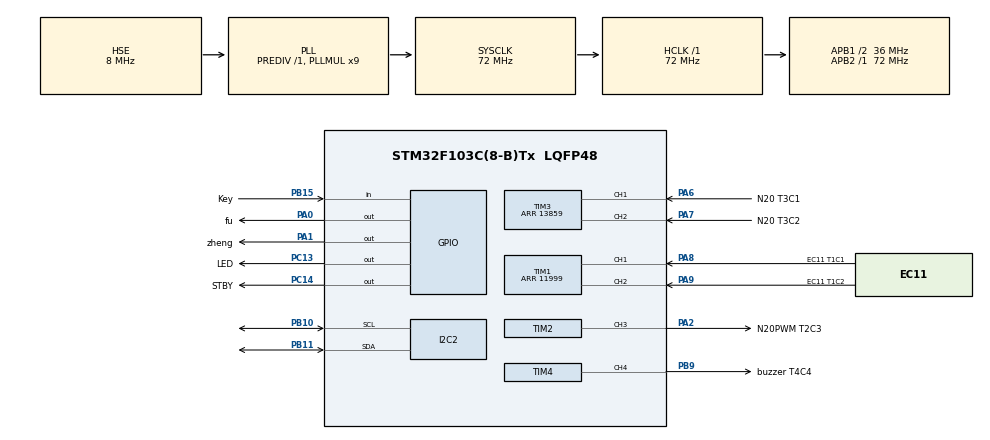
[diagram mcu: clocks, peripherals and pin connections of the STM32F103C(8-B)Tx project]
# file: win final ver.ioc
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Mcu.Family=STM32F1
Mcu.Name=STM32F103C(8-B)Tx
Mcu.Package=LQFP48
NVIC.PriorityGroup=NVIC_PRIORITYGROUP_4
PA0-WKUP.GPIO_Label=fu
PA0-WKUP.PinState=GPIO_PIN_RESET
PA0-WKUP.Signal=GPIO_Output
PA1.GPIO_Label=zheng
PA1.PinState=GPIO_PIN_RESET
PA1.Signal=GPIO_Output
PA13.Mode=Serial_Wire
PA13.Signal=SYS_JTMS-SWDIO
PA14.Mode=Serial_Wire
PA14.Signal=SYS_JTCK-SWCLK
PA2.GPIO_Label=N20PWM T2C3
PA2.Signal=S_TIM2_CH3
PA6.GPIO_Label=N20 T3C1
PA6.Signal=S_TIM3_CH1
PA7.GPIO_Label=N20 T3C2
PA7.Signal=S_TIM3_CH2
PA8.GPIO_Label=EC11 T1C1
PA8.Signal=S_TIM1_CH1
PA9.GPIO_Label=EC11 T1C2
PA9.Signal=S_TIM1_CH2
PB10.Mode=I2C
PB10.Signal=I2C2_SCL
PB11.Mode=I2C
PB11.Signal=I2C2_SDA
PB15.GPIO_Label=Key
PB15.GPIO_PuPd=GPIO_NOPULL
PB15.Signal=GPIO_Input
PB9.GPIO_Label=buzzer T4C4
PB9.Signal=S_TIM4_CH4
PC13-TAMPER-RTC.GPIO_Label=LED
PC13-TAMPER-RTC.Signal=GPIO_Output
PC14-OSC32_IN.GPIO_Label=STBY
PC14-OSC32_IN.PinState=GPIO_PIN_SET
PC14-OSC32_IN.Signal=GPIO_Output
PD0-OSC_IN.Mode=HSE-External-Oscillator
PD0-OSC_IN.Signal=RCC_OSC_IN
PD1-OSC_OUT.Mode=HSE-External-Oscillator
PD1-OSC_OUT.Signal=RCC_OSC_OUT
ProjectManager.HeapSize=0x200
ProjectManager.StackSize=0x400
ProjectManager.TargetToolchain=STM32CubeIDE
RCC.AHBFreq_Value=72000000
RCC.APB1CLKDivider=RCC_HCLK_DIV2
RCC.APB1Freq_Value=36000000
RCC.APB1TimFreq_Value=72000000
RCC.APB2Freq_Value=72000000
RCC.APB2TimFreq_Value=72000000
RCC.HCLKFreq_Value=72000000
RCC.PLLMUL=RCC_PLL_MUL9
RCC.PLLSourceVirtual=RCC_PLLSOURCE_HSE
RCC.SYSCLKFreq_VALUE=72000000
RCC.SYSCLKSource=RCC_SYSCLKSOURCE_PLLCLK
RCC.USBFreq_Value=72000000
SH.S_TIM1_CH1.0=TIM1_CH1,Encoder_Interface
SH.S_TIM1_CH2.0=TIM1_CH2,Encoder_Interface
SH.S_TIM2_CH3.0=TIM2_CH3,PWM Generation3 CH3
SH.S_TIM3_CH1.0=TIM3_CH1,Encoder_Interface
SH.S_TIM3_CH2.0=TIM3_CH2,Encoder_Interface
SH.S_TIM4_CH4.0=TIM4_CH4,PWM Generation4 CH4
TIM1.IC1Filter=15
TIM1.IC2Filter=15
TIM1.Period=11999
TIM2.Channel-PWM\ Generation3\ CH3=TIM_CHANNEL_3
TIM2.Period=999
TIM2.Prescaler=71
TIM2.Pulse-PWM\ Generation3\ CH3=999
TIM3.IC1Filter=8
TIM3.IC2Filter=8
TIM3.Period=13859
TIM4.Channel-PWM\ Generation4\ CH4=TIM_CHANNEL_4
TIM4.Period=4999
TIM4.Prescaler=8
TIM4.Pulse-PWM\ Generation4\ CH4=0
VP_TIM2_VS_ClockSourceINT.Mode=Internal
VP_TIM4_VS_ClockSourceINT.Mode=Internal
board=custom

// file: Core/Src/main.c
/* USER CODE BEGIN Header */
/**
  ******************************************************************************
  * @file           : main.c
  * @brief          : Main program body
  ******************************************************************************
  * @attention
  *
  * Copyright (c) 2025 STMicroelectronics.
  * All rights reserved.
  *
  * This software is licensed under terms that can be found in the LICENSE file
  * in the root directory of this software component.
  * If no LICENSE file comes with this software, it is provided AS-IS.
  *
  ******************************************************************************
  */
/* USER CODE END Header */
#include "main.h"
#include "i2c.h"
#include "tim.h"
#include "gpio.h"

/* USER CODE BEGIN Includes */

#include<stdio.h>
#include<string.h>
#include<math.h>
#include "oled.h"

/* USER CODE END Includes */

/* USER CODE BEGIN PV */

/*
int note[7][18]=
{
		{},
		{659,698,740,784,831,880,932,988,1047,1109,1175,1245,1319,1397,1480,1568,1661,1760},
		{494,523,554,587,622,659,698,740,784,831,880,932,988,1047,1109,1175,1245,1319},
		{392,415,440,466,494,523,554,587,622,659,698,740,784,831,880,932,988,1047},
		{294,311,330,350,370,392,415,440,466,494,523,554,587,622,659,698,740,784},
		{220,233,247,262,277,294,311,330,350,370,392,415,440,466,494,523,554,587},
		{165,175,185,196,208,220,233,247,262,277,294,311,330,350,370,392,415,440}
};*/
float temptemp1;

typedef enum {
    SYS_INIT,
    MENU_MAIN,
    MODE_PAUSE,
    MODE_SPIN,
    MODE_TARGET,
    MODE_CHEAT,
    MODE_SLEEP,
    SYS_ERROR
} SystemState;

SystemState sysState = SYS_INIT;

char mainmenu1[]="1.Pause";
char mainmenu2[]="2.Spin";
char mainmenu3[]="3.Target";
char mainmenu5[]="5.Cheat";
char mainmenu4[]="4.Sleep";

int tim4counter=-1;
int shuangji=0;
int danji=0;

int test1=0;
int test2=0;

int stateshift;//ec11
int locationstate;//N20
int targetlocationstate;//N20

//测速相关
int vState=0;
int N20counter1;
int timcounter1;
int N20counter2;
int timcounter2;
float realspeed;

int yinfu=1;

int note[49]=
		{0,51428,48648,45918,43269,40909,38626,36437,34351,32490,30612,
		28938,27272,25787,24324,22959,21686,20454,19313,18218,17208,16245,
		15332,14469,13657,12893,12162,11479,10830,10227,9656,9109,8595,8115,
		7659,7228,6823,6442,6081,5739,5418,5113,4825,4554,4300,4059,3831,3615,3412};

int puzi[257]={0,
		// 第17小节：11,11, 13,13, 11,11, 6,6, 11,11,11,11, 11,11,11,11
		11,11, 13,13, 11,11, 6,6, 11,11,11,11, 11,11,11,11,

		// 第18小节：0,0,0,0, 11,11,13,13, 11,11,13,13, 16,16,13,13
		0,0,0,0, 11,11,13,13, 11,11,13,13, 16,16,13,13,

		// 第19小节：11,11,13,13, 11,11,6,6, 9,9,9,9, 9,9,9,9
		11,11,13,13, 11,11,6,6, 9,9,9,9, 9,9,9,9,

		// 第20小节：0,0,0,0, 21,21,21,21, 20,20,16,16, 13,13,13,13
		0,0,0,0, 21,21,21,21, 20,20,16,16, 13,13,13,13,

		// 第21小节：结构同第17小节
		11,11, 13,13, 11,11, 6,6, 11,11,11,11, 11,11,11,11,

		// 第22小节：结构同第18小节
		0,0,0,0, 11,11,13,13, 11,11,13,13, 16,16,13,13,

		// 第23小节：23 21 6 -> 11,11,13,13, 11,11,9,9, 18,18,18,18 （关键区别：结尾是6，不是1）
		11,11,13,13, 11,11,9,9, 6,6,6,6,6,6,6,6,

		// 第24小节：6（低八度）-00 -> 6,6,6,6,6,6,6,6, 0,0,0,0,0,0,0,0 （低音6有延音，输出8次；00休止输出8次）
		6,6,6,6,6,6,6,6, 0,0,0,0,0,0,0,0,

		// 第25小节：2_(高八度)3_（高八度）2_（高八度）6_2（高八度）- -> 23,23, 25,25, 23,23, 18,18, 23,23,23,23,23,23,23,23 （2-有延音，输出8次）
		23,23, 25,25, 23,23, 18,18, 23,23,23,23,23,23,23,23,

		// 第26小节
		0,0,0,0, 23,23, 25,25, 23,23, 25,25, 28,28, 25,25,

		// 第27小节
		23,23, 25,25, 23,23, 18,18, 21,21,21,21,21,21,21,21,

		// 第28小节
		0,0,0,0, 33,33,33,33, 32,32, 28,28, 25,25,25,25,

		// 第29小节
		23,23, 25,25, 23,23, 18,18, 23,23,23,23,23,23,23,23,

		// 第30小节
		0,0,0,0, 23,23, 25,25, 23,23, 25,25, 28,28, 25,25,

		// 第31小节
		23,23, 25,25, 23,23, 21,21, 18,18,18,18,18,18,18,18,

		// 第32小节
		18,18,18,18,18,18,18,18, 0,0,0,0,0,0,0,0
};
//要写谱子了
int yijingbofang=0;

int kaishibofang;

int dii=0;
void play()
{
	if(kaishibofang==1)
	{
		yijingbofang++;
		if(dii!=0)
		{
			if(dii==4)
			{
				dii=0;
			}else
			{
				dii++;
			}
			__HAL_TIM_SET_COMPARE(&htim4,TIM_CHANNEL_4,0.5*__HAL_TIM_GET_AUTORELOAD(&htim4));
		}else if(note[puzi[yijingbofang]]==0)
		{
			__HAL_TIM_SET_COMPARE(&htim4,TIM_CHANNEL_4,0);
		}else
		{
			__HAL_TIM_SET_AUTORELOAD(&htim4,note[puzi[yijingbofang]]);
			__HAL_TIM_SET_COMPARE(&htim4,TIM_CHANNEL_4,note[puzi[yijingbofang]]*0.02);
		}
		if(yijingbofang==256) yijingbofang=0;
	}
}

long tim4auto;/*
void play1(int x,int y,float t)
{
	if(x==7)
	{
		//延长
		HAL_Delay(t*309);
		return;
	}
	long count=9000000/note[x][y];
	long pro=180000/note[x][y];
	__HAL_TIM_SET_AUTORELOAD(&htim4,count);
	tim4auto=count;
	__HAL_TIM_SET_COMPARE(&htim4,TIM_CHANNEL_4,pro);
	if(t>=1)
	{
		HAL_Delay(t*309);//每个八分音符时间
		__HAL_TIM_SET_COMPARE(&htim4,TIM_CHANNEL_4,0);
		HAL_Delay(0);
	}else
	{
		t*=2;
		HAL_Delay(t*155);//每个十六分音符时间
		__HAL_TIM_SET_COMPARE(&htim4,TIM_CHANNEL_4,0);
		HAL_Delay(0);
	}
}*/

/*
void HAL_SYSTICK_Callback(void)
{

	  __HAL_TIM_SET_COMPARE(&htim4,TIM_CHANNEL_4,50);//蜂鸣器响起
	  speeddetect();
	  fm();
	  Keydetect();
}*/

void fm()
{
	  if(dii==0)
	  {
		  play();
	  }else if(dii<=9)
	  {
		  dii++;
		  __HAL_TIM_SET_COMPARE(&htim4,TIM_CHANNEL_4,50);
	  }else if(dii==10)
	  {
		  dii=0;
		  __HAL_TIM_SET_COMPARE(&htim4,TIM_CHANNEL_4,0);
	  }
}

void speedde()
{
	  if(vState==0)
	  {
		  N20counter1=__HAL_TIM_GET_COUNTER(&htim3);
		  timcounter1=__HAL_TIM_GET_COUNTER(&htim4);
		  vState=1;
	  }else if(vState<=3)
	  {vState++;}else
	  {
		  N20counter2=__HAL_TIM_GET_COUNTER(&htim3);
		  timcounter2=__HAL_TIM_GET_COUNTER(&htim4);
		  if(N20counter1>=11000&&N20counter2<=3400)
		  {
			  realspeed=-(N20counter2+13860-N20counter1);
		  }else if(N20counter2>=11000&&N20counter1<=3400)
		  {
			  realspeed=(N20counter1+13860-N20counter2);
		  }else
		  {
			  realspeed=-(N20counter2-N20counter1);
		  }
		  float timtemp;
		  if(timcounter1>=40000&&timcounter2<=10000)
		  {
			  timtemp=timcounter2-timcounter1+50000;
		  }else
		  {
			  timtemp=timcounter2-timcounter1;
		  }

		  realspeed=realspeed/693/timtemp*300000;
		  vState=0;

		  //显示speed
		  showspeed();
		  //OLED_ShowFrame();
	  }
}
extern int sec;
extern int msec;

int seccounter1;
int mseccounter1;
int mmsec1;
int seccounter2;
int mseccounter2;
int mmsec2;
void speeddetect()
{
	  if(vState==0)
	  {
		  N20counter1=__HAL_TIM_GET_COUNTER(&htim3);
		  seccounter1=sec;
		  mseccounter1=msec;
		  mmsec1=HAL_GetTick();
		  vState=1;
	  }else if(vState<=1)
	  {vState++;}else
	  {
		  N20counter2=__HAL_TIM_GET_COUNTER(&htim3);
		  seccounter2=sec;
		  mseccounter2=msec;
		  mmsec2=HAL_GetTick();
		  if(N20counter1>=11000&&N20counter2<=3400)
		  {
			  realspeed=-(N20counter2+13860-N20counter1);
		  }else if(N20counter2>=11000&&N20counter1<=3400)
		  {
			  realspeed=(N20counter1+13860-N20counter2);
		  }else
		  {
			  realspeed=-(N20counter2-N20counter1);
		  }

		  float timtemp;
		  timtemp=(seccounter2-seccounter1)*1000+(mseccounter2-mseccounter1);

		  realspeed=realspeed/693/timtemp*30000;
		  vState=0;

		  //显示speed
		  showspeed();
		  //OLED_ShowFrame();
	  }
}

int a;
void speedbihuan(int stemp)
{
	if(stemp<=0)
	{
		stemp*=-1;
	}
	if(a<=3)
	{
		a++;
	}else
	{
		int realspeedi=realspeed;
		if(realspeed<=0)
		{
			realspeedi*=-1;
		}
		int scha=realspeedi-stemp;
		if(scha>=-8&&scha<=8)
		{
			if(scha<=-1||scha>=1)
			{
				__HAL_TIM_SET_COMPARE(&htim2,TIM_CHANNEL_3,(__HAL_TIM_GET_COMPARE(&htim2,TIM_CHANNEL_3)-scha*8/3));
			}
		}
	}
}

void speedbihuan2(int stemp)
{
	if(stemp<=0)
	{
		stemp*=-1;
	}
	if(a<=30)
	{
		a++;
	}else
	{
		int realspeedi=realspeed;
		if(realspeed<=0)
		{
			realspeedi*=-1;
		}
		int scha=realspeedi-stemp;
		if(scha>=-20&&scha<=20)
		{
			if(scha<=-1||scha>=1)
			{
				__HAL_TIM_SET_COMPARE(&htim2,TIM_CHANNEL_3,(__HAL_TIM_GET_COMPARE(&htim2,TIM_CHANNEL_3)-scha*2/3));
			}
		}
	}
}

void speedfail()
{
	  if(vState==0)
	  {
		  N20counter1=__HAL_TIM_GET_COUNTER(&htim3);
		  vState=1;
	  }else if(vState<=0)
	  {vState++;}else
	  {
		  N20counter2=__HAL_TIM_GET_COUNTER(&htim3);
		  if(N20counter1>=11000&&N20counter2<=3400)
		  {
			  realspeed=-(N20counter2+13860-N20counter1);
		  }else if(N20counter2>=11000&&N20counter1<=3400)
		  {
			  realspeed=(N20counter1+13860-N20counter2);
		  }else
		  {
			  realspeed=-(N20counter2-N20counter1);
		  }
		  float timtemp=1.0;
		  realspeed=realspeed/1386/timtemp*600;
		  vState=0;

		  //显示speed
		  showspeed();
		  //OLED_ShowFrame();
	  }
}

//圈数相关
int setround;
int realround=-1;

int mubiao=10;
int cha;

//位置相关
double realn20=0;
int realarea=1;
char realareaout[3];

/* USER CODE END PV */

void SystemClock_Config(void);

/* USER CODE BEGIN 0 */
void stoph()
{
	  HAL_GPIO_WritePin(fu_GPIO_Port, fu_Pin, RESET);
	  HAL_GPIO_WritePin(zheng_GPIO_Port, zheng_Pin, RESET);
}

void stops()
{
	  HAL_GPIO_WritePin(fu_GPIO_Port, fu_Pin, SET);
	  HAL_GPIO_WritePin(zheng_GPIO_Port, zheng_Pin, SET);
}

void showspeed()
{
	char realspeedout[20];
	sprintf(realspeedout,"V = %.1f",realspeed);
	OLED_PrintString(3, 36, realspeedout, &font16x16, OLED_COLOR_NORMAL);
}

void clearlocation()
{
	OLED_SetPixel(105+18*cos(realn20), 39-18*sin(realn20), OLED_COLOR_REVERSED);
	OLED_SetPixel(105+17.5*cos(realn20), 39-17.5*sin(realn20), OLED_COLOR_REVERSED);
	OLED_SetPixel(105+17*cos(realn20), 39-17*sin(realn20), OLED_COLOR_REVERSED);
	OLED_SetPixel(105+16.5*cos(realn20), 39-16.5*sin(realn20), OLED_COLOR_REVERSED);
	OLED_SetPixel(105+16*cos(realn20), 39-16*sin(realn20), OLED_COLOR_REVERSED);
	char spitempshowlocation[]="  ";
	OLED_PrintString(100, 30, spitempshowlocation, &font16x16, OLED_COLOR_NORMAL);
}

void showlocation()
{
	OLED_SetPixel(105+18*cos(realn20), 39-18*sin(realn20), OLED_COLOR_REVERSED);
	OLED_SetPixel(105+17.5*cos(realn20), 39-17.5*sin(realn20), OLED_COLOR_REVERSED);
	OLED_SetPixel(105+17*cos(realn20), 39-17*sin(realn20), OLED_COLOR_REVERSED);
	OLED_SetPixel(105+16.5*cos(realn20), 39-16.5*sin(realn20), OLED_COLOR_REVERSED);
	OLED_SetPixel(105+16*cos(realn20), 39-16*sin(realn20), OLED_COLOR_REVERSED);

	realn20=__HAL_TIM_GET_COUNTER(&htim3)%1386;
	realarea=1+realn20/39;
	sprintf(realareaout,"%d",realarea);
	char tempshowlocation[]="  ";
	OLED_PrintString(100, 30, tempshowlocation, &font16x16, OLED_COLOR_NORMAL);
	OLED_PrintString(100, 30, realareaout, &font16x16, OLED_COLOR_NORMAL);

	realn20=realn20*3.1415926535/693;

	OLED_SetPixel(105+18*cos(realn20), 39-18*sin(realn20), OLED_COLOR_NORMAL);
	OLED_SetPixel(105+17.5*cos(realn20), 39-17.5*sin(realn20), OLED_COLOR_NORMAL);
	OLED_SetPixel(105+17*cos(realn20), 39-17*sin(realn20), OLED_COLOR_NORMAL);
	OLED_SetPixel(105+16.5*cos(realn20), 39-16.5*sin(realn20), OLED_COLOR_NORMAL);
	OLED_SetPixel(105+16*cos(realn20), 39-16*sin(realn20), OLED_COLOR_NORMAL);
	OLED_DrawCircle(105, 39, 20, OLED_COLOR_NORMAL);

	//showspeed();

	//OLED_ShowFrame();
}

void Keyde()
{
	  if(tim4counter!=-1)
	  {
	  		if(tim4counter+4000<=__HAL_TIM_GET_COUNTER(&htim4))
	  		{
	  			danji=1;
	  			tim4counter=-1;
	  		}else if(tim4counter>=45999&&tim4counter+4000>=__HAL_TIM_GET_COUNTER(&htim4)+49999)
	  		{
	  			danji=1;
	  			tim4counter=-1;
	  		}
	  }

	  if(HAL_GPIO_ReadPin(Key_GPIO_Port, Key_Pin)==GPIO_PIN_RESET)
	  {
	  		HAL_Delay(10);
	  		while(HAL_GPIO_ReadPin(Key_GPIO_Port, Key_Pin)==GPIO_PIN_RESET);
	  		HAL_Delay(10);
	  		if(tim4counter==-1)
	  		{
	  			tim4counter=__HAL_TIM_GET_COUNTER(&htim4);
	  		}
	  		else
	  		{
	  			shuangji=1;
	  			tim4counter=-1;
	  		}
	  }
}

int keyi=0;
int secqian;
int msecqian;

void Keydetect()
{
	  if(keyi!=0)
	  {
		  float dtime=(sec-secqian)*1000+(msec-msecqian);
	  		if(dtime>=400)
	  		{
	  			danji=1;
	  			keyi=0;
	  		}
	  }

	  if(HAL_GPIO_ReadPin(Key_GPIO_Port, Key_Pin)==GPIO_PIN_RESET)
	  {
	  		HAL_Delay(10);
	  		while(HAL_GPIO_ReadPin(Key_GPIO_Port, Key_Pin)==GPIO_PIN_RESET);
	  		HAL_Delay(10);
	  		if(keyi==0)
	  		{
	  			secqian=sec;
	  			msecqian=msec;
	  			keyi=1;
	  		}
	  		else
	  		{
	  			shuangji=1;
	  			keyi=0;
	  		}
	  }
}

void Keyfail()
{

	  if(keyi!=0)
	  {
		  keyi++;
	  		if(keyi==4)
	  		{
	  			danji=1;
	  			keyi=0;
	  		}
	  }

	  if(HAL_GPIO_ReadPin(Key_GPIO_Port, Key_Pin)==GPIO_PIN_RESET)
	  {
	  		HAL_Delay(10);
	  		while(HAL_GPIO_ReadPin(Key_GPIO_Port, Key_Pin)==GPIO_PIN_RESET);
	  		HAL_Delay(10);
	  		if(keyi==0)
	  		{
	  			keyi=1;
	  		}
	  		else
	  		{
	  			shuangji=1;
	  			keyi=0;
	  		}
	  }
}

void winsys_Init()
{
	char qidong[]="starting";
	OLED_PrintString(13, 0, qidong, &font16x16, OLED_COLOR_NORMAL);
	OLED_ShowFrame();

	HAL_GPIO_WritePin(LED_GPIO_Port, LED_Pin, GPIO_PIN_RESET);
	HAL_Delay(500);

	HAL_GPIO_WritePin(LED_GPIO_Port, LED_Pin, GPIO_PIN_SET);
	HAL_Delay(500);

	HAL_GPIO_WritePin(LED_GPIO_Port, LED_Pin, GPIO_PIN_RESET);
	HAL_Delay(500);

	HAL_GPIO_WritePin(LED_GPIO_Port, LED_Pin, GPIO_PIN_SET);
	HAL_Delay(500);

	HAL_GPIO_WritePin(LED_GPIO_Port, LED_Pin, GPIO_PIN_RESET);
	HAL_Delay(500);

	HAL_GPIO_WritePin(LED_GPIO_Port, LED_Pin, GPIO_PIN_SET);

	__HAL_TIM_SET_COMPARE(&htim4,TIM_CHANNEL_4,0.2*__HAL_TIM_GET_AUTORELOAD(&htim4));
	HAL_Delay(400);
	__HAL_TIM_SET_COMPARE(&htim4,TIM_CHANNEL_4,0);

}
void timtest(int a)
{
	char message[20];
	char temp[]="      ";
	int counter;
	if(a==1) counter=__HAL_TIM_GET_COUNTER(&htim1);
	if(a==2) counter=__HAL_TIM_GET_COUNTER(&htim2);
	if(a==3) counter=__HAL_TIM_GET_COUNTER(&htim3);
	if(a==4) counter=__HAL_TIM_GET_COUNTER(&htim4);

	OLED_PrintString(13, 51, temp, &font16x16, OLED_COLOR_NORMAL);

	sprintf(message,"C=%d",counter);
	OLED_PrintString(13, 51, message, &font16x16, OLED_COLOR_NORMAL);
}

/* USER CODE END 0 */

int main(void)
{

  /* MCU Configuration--------------------------------------------------------*/

  /* Reset of all peripherals, Initializes the Flash interface and the Systick. */
  HAL_Init();

  /* Configure the system clock */
  SystemClock_Config();

  /* Initialize all configured peripherals */
  MX_GPIO_Init();
  MX_I2C2_Init();
  MX_TIM1_Init();
  MX_TIM2_Init();
  MX_TIM4_Init();
  MX_TIM3_Init();

  /* Infinite loop */
  /* USER CODE BEGIN WHILE */
  while (1)
  {
	  switch(sysState)
	  {
	  case SYS_INIT:

		  kaishibofang=0;

		  HAL_Delay(50);

		  OLED_Init();
		  OLED_NewFrame();
		  OLED_ShowFrame();

		  HAL_TIM_Encoder_Start(&htim1, TIM_CHANNEL_ALL);
		  HAL_TIM_Encoder_Start(&htim3, TIM_CHANNEL_ALL);
		  HAL_TIM_Base_Start(&htim4);
		  HAL_TIM_PWM_Start(&htim2, TIM_CHANNEL_3);
		  HAL_TIM_PWM_Start(&htim4, TIM_CHANNEL_4);

		  winsys_Init();

		  char INIT1[]="Please move the";
		  char INIT2[]="pointer to point";
		  char INIT3[]="betw area 1 & 36";
		  char INIT4[]="press the key";
		  OLED_NewFrame();
		  OLED_PrintString(0, 0, INIT1, &font16x16, OLED_COLOR_NORMAL);
		  OLED_PrintString(0, 15, INIT2, &font16x16, OLED_COLOR_NORMAL);
		  OLED_PrintString(0, 31, INIT3, &font16x16, OLED_COLOR_NORMAL);
		  OLED_PrintString(0, 46, INIT4, &font16x16, OLED_COLOR_NORMAL);
		  OLED_ShowFrame();
		  while(1)
		  {
			  Keydetect();
			  if(danji)
			  {

				  kaishibofang=1;
				  danji=0;
				  break;
			  }
		  }
		  __HAL_TIM_SET_COUNTER(&htim3,0);
		  sysState = MENU_MAIN;

		  break;

	  case MENU_MAIN:
		  int meuState = 0;
		  stateshift=__HAL_TIM_GET_COUNTER(&htim1);
		  int meucounter;
		  while(1)
		  {
			  OLED_NewFrame();
			  OLED_PrintString(10, 0, mainmenu1, &font16x16, (meuState==0?OLED_COLOR_REVERSED:OLED_COLOR_NORMAL));
			  OLED_PrintString(10, 16, mainmenu2, &font16x16, (meuState==1?OLED_COLOR_REVERSED:OLED_COLOR_NORMAL));
			  OLED_PrintString(10, 32, mainmenu3, &font16x16, (meuState==2?OLED_COLOR_REVERSED:OLED_COLOR_NORMAL));
			  OLED_PrintString(10, 48, mainmenu4, &font16x16, (meuState==3?OLED_COLOR_REVERSED:OLED_COLOR_NORMAL));

			  char mentem1[]="C";
			  char mentem2[]="H";
			  char mentem3[]="E";
			  char mentem4[]="A";
			  char mentem5[]="T";
			  OLED_PrintString(90, 0, mentem1, &font16x16, (meuState==4?OLED_COLOR_REVERSED:OLED_COLOR_NORMAL));
			  OLED_PrintString(90, 13, mentem2, &font16x16, (meuState==4?OLED_COLOR_REVERSED:OLED_COLOR_NORMAL));
			  OLED_PrintString(90, 26, mentem3, &font16x16, (meuState==4?OLED_COLOR_REVERSED:OLED_COLOR_NORMAL));
			  OLED_PrintString(90, 40, mentem4, &font16x16, (meuState==4?OLED_COLOR_REVERSED:OLED_COLOR_NORMAL));
			  OLED_PrintString(90, 52, mentem5, &font16x16, (meuState==4?OLED_COLOR_REVERSED:OLED_COLOR_NORMAL));

			  meucounter=__HAL_TIM_GET_COUNTER(&htim1);
			  if(stateshift>=0&&stateshift<=1000&&meucounter>=4000)
			  {
				  meuState+=(5-1);
				  meuState%=5;
				  HAL_Delay(100);
				  stateshift=__HAL_TIM_GET_COUNTER(&htim1);
			  }else if(stateshift<meucounter)
			  {
				  meuState+=1;
				  meuState%=5;
				  HAL_Delay(100);
				  stateshift=__HAL_TIM_GET_COUNTER(&htim1);
			  }else if(stateshift>=4000&&meucounter<=1000&&meucounter>=0)
			  {
				  meuState+=1;
				  meuState%=5;
				  HAL_Delay(100);
				  stateshift=__HAL_TIM_GET_COUNTER(&htim1);
			  }else if(stateshift>meucounter)
			  {
				  meuState+=(5-1);
				  meuState%=5;
				  HAL_Delay(100);
				  stateshift=__HAL_TIM_GET_COUNTER(&htim1);
			  }
			  OLED_ShowFrame();

			  Keydetect();

			  if(danji)
			  {
				  switch(meuState)
				  {
				  case 0:
					  sysState=MODE_PAUSE;
					  break;
				  case 1:
					  sysState=MODE_SPIN;
					  break;
				  case 2:
					  sysState=MODE_TARGET;
					  break;
				  case 3:
					  sysState=MODE_SLEEP;
					  break;
				  case 4:
					  sysState=MODE_CHEAT;
					  break;
				  }
				  __HAL_TIM_SET_COUNTER(&htim1,0);
				  danji=0;
			  }

			  if(shuangji)
			  {
				  sysState = SYS_INIT;
				  shuangji=0;
			  }

			  if(sysState!=MENU_MAIN)
			  {
				  break;
			  }
		  }
		  break;

	  case MODE_PAUSE:

		  char pause1[]="SPEED =      r/m";
		  OLED_NewFrame();
		  OLED_PrintString(0, 0, pause1, &font16x16, (OLED_COLOR_NORMAL));
		  OLED_ShowFrame();

		  int pauState = 0;
		  stateshift=__HAL_TIM_GET_COUNTER(&htim1);//速度调节调用
		  locationstate=__HAL_TIM_GET_COUNTER(&htim3);//位置调用
		  int paucounter;
		  float pauspeed=0;

		  while(sysState==MODE_PAUSE)
		  {
			  //timtest(3);
			  showlocation();
			  if(pauState!=0)
			  {
				  speeddetect();
				  speedbihuan(pauspeed);
			  }else
			  {
				  //遮住速度
			  }
			  OLED_ShowFrame();

			  if(pauState==0)
			  {
				  Keydetect();
				  paucounter=__HAL_TIM_GET_COUNTER(&htim1);
				  if(stateshift>=0&&stateshift<=1000&&paucounter>=4000)
				  {
					  pauspeed-=(stateshift+12000-paucounter)*2.5;
					  stateshift=paucounter;//逆时针
				  }else if(stateshift<paucounter)
				  {
					  pauspeed+=(paucounter-stateshift)*5;
					  stateshift=paucounter;
				  }else if(stateshift>=4000&&paucounter<=1000&&paucounter>=0)
				  {
					  pauspeed+=(paucounter+12000-stateshift)*2.5;
					  stateshift=paucounter;
				  }else if(stateshift>paucounter)
				  {
					  pauspeed-=(stateshift-paucounter)*2.5;
					  stateshift=paucounter;//逆时针
				  }

				  if(pauspeed<-300)
				  {
					  pauspeed=-300;
				  }else
				  {
					  if(pauspeed>300)
					  {
						  pauspeed=300;
					  }
				  }
				  int pauspeedint=pauspeed;
				  char pauspeedout[5];
				  sprintf(pauspeedout,"%d",pauspeedint);

				  OLED_PrintString(0, 0, pause1, &font16x16, (OLED_COLOR_NORMAL));
				  OLED_PrintString(63, 0, pauspeedout, &font16x16, OLED_COLOR_REVERSED);
				  OLED_ShowFrame();

				  if(shuangji)
				  {
					  shuangji=0;
					  sysState=MENU_MAIN;

				  }else if(danji)
				  {
					  danji=0;
					  OLED_PrintString(63, 0, pauspeedout, &font16x16, OLED_COLOR_NORMAL);
					  OLED_ShowFrame();
					  if(pauspeed>0)
					  {
						  temptemp1=0.96551*pauspeed+5.4;
						  __HAL_TIM_SET_COMPARE(&htim2,TIM_CHANNEL_3,(temptemp1*10/3)-1);
						  HAL_GPIO_WritePin(zheng_GPIO_Port, zheng_Pin, SET);
						  HAL_GPIO_WritePin(fu_GPIO_Port, fu_Pin, RESET);
						  pauState=1;
						  a=0;
					  }else if(pauspeed<0)
					  {
						  temptemp1=0.96551*pauspeed-5.4;
						  __HAL_TIM_SET_COMPARE(&htim2,TIM_CHANNEL_3,(-temptemp1*10/3)-1);
						  HAL_GPIO_WritePin(zheng_GPIO_Port, zheng_Pin, RESET);
						  HAL_GPIO_WritePin(fu_GPIO_Port, fu_Pin, SET);
						  pauState=1;
						  a=0;
					  }
				  }

			  }else
			  {
				  Keydetect();
				  if(danji||shuangji)
				  {
					  HAL_GPIO_WritePin(fu_GPIO_Port, fu_Pin, SET);
					  HAL_GPIO_WritePin(zheng_GPIO_Port, zheng_Pin, SET);

					  danji=0;
					  shuangji=0;
					  pauState=0;
				  }
			  }
			  if(sysState!=MODE_PAUSE)
			  {
				  break;
			  }
		  }
		  break;

	  case MODE_SPIN:
		  int spiState = 0;//0=设定v 1=设定圈 2=电机启动到自然停下 3=finish
		  stateshift=__HAL_TIM_GET_COUNTER(&htim1);//速度调节调用
		  locationstate=__HAL_TIM_GET_COUNTER(&htim3);//位置调用
		  int spicounter;//计数器比较
		  float spispeed=0;
		  float spiround=0;
		  char spispeedout[5];
		  char spiroundout[5];

		  OLED_NewFrame();
		  char spin1[]="SPEED =     r/m";
		  OLED_PrintString(3, 0, spin1, &font16x16, OLED_COLOR_NORMAL);
		  char spin2[]="SPIN     R";
		  OLED_PrintString(3, 17, spin2, &font16x16, OLED_COLOR_NORMAL);
		  sprintf(spiroundout,"%d",spiround);
		  OLED_PrintString(44, 17, spiroundout, &font16x16, OLED_COLOR_NORMAL);
		  OLED_ShowFrame();

		  while(1)
		  {
			  //指针区域显示

			  showlocation();
			  switch(spiState)
			  {
			  case 0:

				  //ec11速度旋转调节

				  spicounter=__HAL_TIM_GET_COUNTER(&htim1);
				  if(stateshift>=0&&stateshift<=1000&&spicounter>=4000)
				  {
					  spispeed-=(stateshift+12000-spicounter)*2.5;
					  stateshift=spicounter;//逆时针
				  }else if(stateshift<spicounter)
				  {
					  spispeed+=(spicounter-stateshift)*5;
					  stateshift=spicounter;
				  }else if(stateshift>=4000&&spicounter<=1000&&spicounter>=0)
				  {
					  spispeed+=(spicounter+12000-stateshift)*2.5;
					  stateshift=spicounter;
				  }else if(stateshift>spicounter)
				  {
					  spispeed-=(stateshift-spicounter)*2.5;
					  stateshift=spicounter;//逆时针
				  }

				  if(spispeed<-300)
				  {
					  spispeed=-300;
				  }else
				  {
					  if(spispeed>300)
					  {
						  spispeed=300;
					  }
				  }
				  int spispeedint=spispeed;
				  sprintf(spispeedout,"%d",spispeedint);

				  OLED_PrintString(3, 0, spin1, &font16x16, OLED_COLOR_NORMAL);

				  OLED_PrintString(64, 0, spispeedout, &font16x16, OLED_COLOR_REVERSED);
				  OLED_ShowFrame();

				  if(danji)
				  {
					  spiState=1;
					  danji=0;
				  }else if(shuangji)
				  {
					  sysState=MENU_MAIN;
					  shuangji=0;
				  }

				  break;
			  case 1:

				  //ec11圈数旋转调节

				  spicounter=__HAL_TIM_GET_COUNTER(&htim1);
				  if(stateshift>=0&&stateshift<=1000&&spicounter>=4000)
				  {
					  spiround-=(stateshift+12000-spicounter)*0.5;
					  stateshift=spicounter;//逆时针
				  }else if(stateshift<spicounter)
				  {
					  spiround+=(spicounter-stateshift)*0.5;
					  stateshift=spicounter;
				  }else if(stateshift>=4000&&spicounter<=1000&&spicounter>=0)
				  {
					  spiround+=(spicounter+12000-stateshift)*0.5;
					  stateshift=spicounter;
				  }else if(stateshift>spicounter)
				  {
					  spiround-=(stateshift-spicounter)*0.5;
					  stateshift=spicounter;//逆时针
				  }

				  if(spiround<0)
				  {
					  spiround=0;
				  }else
				  {
					  if(spiround>999)
					  {
						  spiround=999;
					  }
				  }
				  int spiroundint=spiround;
				  sprintf(spiroundout,"%d",spiroundint);

				  OLED_PrintString(3, 0, spin1, &font16x16, OLED_COLOR_NORMAL);
				  OLED_PrintString(3, 17, spin2, &font16x16, OLED_COLOR_NORMAL);

				  OLED_PrintString(64, 0, spispeedout, &font16x16, OLED_COLOR_NORMAL);
				  OLED_PrintString(44, 17, spiroundout, &font16x16, OLED_COLOR_REVERSED);
				  OLED_ShowFrame();

				  if(danji)
				  {
					  spiState=2;
					  danji=0;
				  }else if(shuangji)
				  {
					  spiState=0;
					  shuangji=0;
				  }

				  break;
			  case 2:

				  OLED_PrintString(44, 17, spiroundout, &font16x16, OLED_COLOR_NORMAL);

				  char spitem1[]="spinning";
				  //OLED_PrintString(3, 34, spitem1, &font16x16, OLED_COLOR_NORMAL);
				  OLED_ShowFrame();

				  setround=spiroundint;

				  //启动电机
				  if(spispeed>0&&setround>=1)
				  {
					  temptemp1=0.96551*spispeed+5.4;
					  __HAL_TIM_SET_COMPARE(&htim2,TIM_CHANNEL_3,(temptemp1*10/3)-1);
					  HAL_GPIO_WritePin(zheng_GPIO_Port, zheng_Pin, SET);
					  HAL_GPIO_WritePin(fu_GPIO_Port, fu_Pin, RESET);
				  }else if(spispeed<0&&setround>=1)
				  {
					  temptemp1=0.96551*spispeed-5.4;
					  __HAL_TIM_SET_COMPARE(&htim2,TIM_CHANNEL_3,(-temptemp1*10/3)-1);
					  HAL_GPIO_WritePin(zheng_GPIO_Port, zheng_Pin, RESET);
					  HAL_GPIO_WritePin(fu_GPIO_Port, fu_Pin, SET);
				  }
				  HAL_Delay(50);

				  a=0;

				  speeddetect();
				  realround=0;
				  locationstate=__HAL_TIM_GET_COUNTER(&htim3);

				  clearlocation();
				  speeddetect();

				  HAL_Delay(50);
				  speeddetect();
				  while(1)
				  {

					  if(vState==0)
					  {
						  N20counter1=__HAL_TIM_GET_COUNTER(&htim3);
						  seccounter1=sec;
						  mseccounter1=msec;
						  mmsec1=HAL_GetTick();
						  vState=1;
					  }else if(vState<=1)
					  {vState++;}else
					  {
						  N20counter2=__HAL_TIM_GET_COUNTER(&htim3);
						  seccounter2=sec;
						  mseccounter2=msec;
						  mmsec2=HAL_GetTick();
						  if(N20counter1>=11000&&N20counter2<=3400)
						  {
							  realspeed=-(N20counter2+13860-N20counter1);
						  }else if(N20counter2>=11000&&N20counter1<=3400)
						  {
							  realspeed=(N20counter1+13860-N20counter2);
						  }else
						  {
							  realspeed=-(N20counter2-N20counter1);
						  }

						  float timtemp;
						  timtemp=(seccounter2-seccounter1)*1000+(mseccounter2-mseccounter1);

						  realspeed=realspeed/693/timtemp*30000;
						  vState=0;

						  //显示speed
						  //OLED_ShowFrame();
					  }
					  speedbihuan2(spispeed);

					  cha=__HAL_TIM_GET_COUNTER(&htim3)%1386-locationstate%1386;
					  if(cha<=mubiao&&cha>=-mubiao)
					  {
						  OLED_ShowFrame();
						  realround++;
						  if(setround==realround)
						  {
							  break;
						  }
						  speeddetect();
						  HAL_Delay(50);
						  //showlocation();
					  }
				  }
				  //已经到达buzzer

					__HAL_TIM_SET_COMPARE(&htim4,TIM_CHANNEL_4,0.5*__HAL_TIM_GET_AUTORELOAD(&htim4));
				  stoph();
				  dii=1;

				  char spitem2[]="          ";
				  OLED_PrintString(3, 34, spitem2, &font16x16, OLED_COLOR_NORMAL);
				  OLED_ShowFrame();

				  spiState=3;

				  break;

			  case 3:

				  char spitem3[]="Finish";
				  OLED_PrintString(3, 34, spitem3, &font16x16, OLED_COLOR_NORMAL);
				  OLED_ShowFrame();

				  if(danji||shuangji)
				  {
					  spiState=0;
					  danji=0;
					  shuangji=0;

					  char spitem4[]="      ";
					  OLED_PrintString(3, 34, spitem4, &font16x16, OLED_COLOR_NORMAL);
				  }

				  break;
			  }

			  Keydetect();

			  if(sysState!=MODE_SPIN)
			  {
				  break;
			  }
		  }
		  break;
	  case MODE_TARGET:
		  int tarState = 1;
		  stateshift=__HAL_TIM_GET_COUNTER(&htim1);//速度调节调用
		  locationstate=__HAL_TIM_GET_COUNTER(&htim3);//位置调用
		  int tarcounter;//计数器比较
		  int tarspeed=0;
		  int tarround=0;
		  int tarlocation=0;
		  char tarspeedout[5];
		  char tarroundout[5];
		  char tarlocationout[]="1";
		  char tartemp[]="   ";
		  int e,f;

		  OLED_NewFrame();
		  //char tar1[]="SPEED =     r/m";
		  //OLED_PrintString(3, 0, tar1, &font16x16, OLED_COLOR_NORMAL);
		  char tar2[]="SPIN     R";
		  OLED_PrintString(0, 0, tar2, &font16x16, OLED_COLOR_NORMAL);
		  char tar3[]="   AREA";
		  OLED_PrintString(0, 17, tar3, &font16x16, OLED_COLOR_NORMAL);
		  sprintf(tarspeedout,"%d",tarspeed);
		  sprintf(tarroundout,"%d",tarround);

		  //OLED_PrintString(66, 0, tarspeedout, &font16x16, OLED_COLOR_NORMAL);
		  OLED_PrintString(41, 0, tarroundout, &font16x16, OLED_COLOR_NORMAL);
		  OLED_PrintString(0, 17, tarlocationout, &font16x16, OLED_COLOR_NORMAL);
		  OLED_ShowFrame();

		  while(1)
		  {

			  //指针区域显示

			  showlocation();
			  switch(tarState)
			  {
			  case 0:

				  //ec11速度旋转调节

				  tarcounter=__HAL_TIM_GET_COUNTER(&htim1);
				  if(stateshift>=0&&stateshift<=1000&&tarcounter>=4000)
				  {
					  tarspeed-=(stateshift+12000-tarcounter)*5;
					  stateshift=tarcounter;//逆时针
				  }else if(stateshift<tarcounter)
				  {
					  tarspeed+=(tarcounter-stateshift)*5;
					  stateshift=tarcounter;
				  }else if(stateshift>=4000&&tarcounter<=1000&&tarcounter>=0)
				  {
					  tarspeed+=(tarcounter+12000-stateshift)*5;
					  stateshift=tarcounter;
				  }else if(stateshift>tarcounter)
				  {
					  tarspeed-=(stateshift-tarcounter)*5;
					  stateshift=tarcounter;//逆时针
				  }

				  if(tarspeed<-300)
				  {
					  tarspeed=-300;
				  }else
				  {
					  if(tarspeed>300)
					  {
						  tarspeed=300;
					  }
				  }
				  sprintf(tarspeedout,"%d",tarspeed);

				  OLED_PrintString(64, 0, tartemp, &font16x16, OLED_COLOR_NORMAL);
				  OLED_PrintString(64, 0, tarspeedout, &font16x16, OLED_COLOR_REVERSED);
				  OLED_PrintString(44, 17, tarroundout, &font16x16, OLED_COLOR_NORMAL);
				  OLED_PrintString(44, 34, tarlocationout, &font16x16, OLED_COLOR_NORMAL);
				  OLED_ShowFrame();

				  if(danji)
				  {
					  tarState=1;
					  danji=0;
				  }else if(shuangji)
				  {
					  sysState=MENU_MAIN;
					  shuangji=0;
				  }

				  break;
			  case 1:

				  //ec11圈数旋转调节
				  tarcounter=__HAL_TIM_GET_COUNTER(&htim1);
				  if(stateshift>=0&&stateshift<=1000&&tarcounter>=4000)
				  {
					  tarround-=(stateshift+12000-tarcounter)*0.5;
					  stateshift=tarcounter;//逆时针
				  }else if(stateshift<tarcounter)
				  {
					  tarround+=(tarcounter-stateshift)*0.5;
					  stateshift=tarcounter;
				  }else if(stateshift>=4000&&tarcounter<=1000&&tarcounter>=0)
				  {
					  tarround+=(tarcounter+12000-stateshift)*0.5;
					  stateshift=tarcounter;
				  }else if(stateshift>tarcounter)
				  {
					  tarround-=(stateshift-tarcounter)*0.5;
					  stateshift=tarcounter;//逆时针
				  }

				  if(tarround<0)
				  {
					  tarround=0;
				  }else
				  {
					  if(tarround>999)
					  {
						  tarround=999;
					  }
				  }
				  int tarroundint=tarround;
				  sprintf(tarroundout,"%d",tarroundint);

				  OLED_PrintString(41, 0, tartemp, &font16x16, OLED_COLOR_NORMAL);
				  //OLED_PrintString(64, 0, tarspeedout, &font16x16, OLED_COLOR_NORMAL);
				  OLED_PrintString(41, 0, tarroundout, &font16x16, OLED_COLOR_REVERSED);
				  OLED_PrintString(0, 17, tarlocationout, &font16x16, OLED_COLOR_NORMAL);
				  OLED_ShowFrame();

				  if(danji)
				  {
					  tarState=2;
					  danji=0;
					  setround=tarround;
				  }else if(shuangji)
				  {
					  sysState=MENU_MAIN;
					  shuangji=0;
				  }

				  break;
			  case 2:

				  //ec11区域旋转调节
				  tarcounter=__HAL_TIM_GET_COUNTER(&htim1);
				  if(stateshift>=0&&stateshift<=1000&&tarcounter>=4000)
				  {
					  tarlocation-=(stateshift+12000-tarcounter)*0.5;
					  stateshift=tarcounter;//逆时针
				  }else if(stateshift<tarcounter)
				  {
					  tarlocation+=(tarcounter-stateshift)*0.5;
					  stateshift=tarcounter;
				  }else if(stateshift>=4000&&tarcounter<=1000&&tarcounter>=0)
				  {
					  tarlocation+=(tarcounter+12000-stateshift)*0.5;
					  stateshift=tarcounter;
				  }else if(stateshift>tarcounter)
				  {
					  tarlocation-=(stateshift-tarcounter)*0.5;
					  stateshift=tarcounter;//逆时针
				  }

				  if(tarlocation<1)
				  {
					  tarlocation=1;
				  }else
				  {
					  if(tarlocation>36)
					  {
						  tarlocation=36;
					  }
				  }
				  int tarlocationint=tarlocation;
				  sprintf(tarlocationout,"%d",tarlocationint);

				  //OLED_PrintString(64, 0, tarspeedout, &font16x16, OLED_COLOR_NORMAL);
				  OLED_PrintString(0, 17, tartemp, &font16x16, OLED_COLOR_NORMAL);
				  OLED_PrintString(41, 0, tarroundout, &font16x16, OLED_COLOR_NORMAL);
				  OLED_PrintString(0, 17, tarlocationout, &font16x16, OLED_COLOR_REVERSED);
				  OLED_ShowFrame();

				  if(danji)
				  {
					  tarState=3;
					  danji=0;
				  }else if(shuangji)
				  {
					  tarState=1;
					  shuangji=0;
				  }

				  break;
			  case 3:

				  OLED_PrintString(0, 17, tarlocationout, &font16x16, OLED_COLOR_NORMAL);

				  char tartem1[]="spinning";
				  OLED_PrintString(0, 36, tartem1, &font16x16, OLED_COLOR_NORMAL);
				  OLED_ShowFrame();

				  //启动电机

				  __HAL_TIM_SET_COMPARE(&htim2,TIM_CHANNEL_3,299);

				  HAL_GPIO_WritePin(zheng_GPIO_Port, zheng_Pin, RESET);
				  HAL_GPIO_WritePin(fu_GPIO_Port, fu_Pin, SET);
				  //显示正在转动

				  clearlocation();
				  realround=-1;
				  locationstate=__HAL_TIM_GET_COUNTER(&htim3);
				  while(1)
				  {
					  cha=__HAL_TIM_GET_COUNTER(&htim3)%1386-locationstate%1386;
					  if(cha<=mubiao&&cha>=-mubiao)
					  {
						  realround++;
						  HAL_Delay(75);
						  if(setround==realround+1)
						  {
							  break;
						  }
						  //speeddetect();
						  //showlocation();
						  OLED_ShowFrame();
					  }
				  }
				  __HAL_TIM_SET_COMPARE(&htim2,TIM_CHANNEL_3,149);

				  HAL_GPIO_WritePin(zheng_GPIO_Port, zheng_Pin, RESET);
				  HAL_GPIO_WritePin(fu_GPIO_Port, fu_Pin, SET);
				  while(1)
				  {
					  cha=__HAL_TIM_GET_COUNTER(&htim3)%1386-locationstate%1386;
					  if(cha<=mubiao&&cha>=-mubiao)
					  {
						  realround++;
						  if(setround==realround)
						  {
							  break;
						  }
					  }
				  }

				  __HAL_TIM_SET_COMPARE(&htim2,TIM_CHANNEL_3,99);

				  HAL_GPIO_WritePin(zheng_GPIO_Port, zheng_Pin, RESET);
				  HAL_GPIO_WritePin(fu_GPIO_Port, fu_Pin, SET);
				  int mudi=locationstate%1386+tarlocation*39;
				  mudi%=1386;
				  while(1)
				  {
					  cha=__HAL_TIM_GET_COUNTER(&htim3)%1386-mudi;
					  if(cha<=mubiao&&cha>=-mubiao)
					  {
						  stops();
						  break;
					  }
				  }

				  //已经到达buzzer

					__HAL_TIM_SET_COMPARE(&htim4,TIM_CHANNEL_4,0.5*__HAL_TIM_GET_AUTORELOAD(&htim4));
					dii=1;

				  char tartem2[]="        ";
				  OLED_PrintString(0, 36, tartem2, &font16x16, OLED_COLOR_NORMAL);
				  OLED_ShowFrame();

				  tarState=4;

				  locationstate=__HAL_TIM_GET_COUNTER(&htim3);

				  char tartem3[]="Finish";
				  OLED_PrintString(0, 36, tartem3, &font16x16, OLED_COLOR_NORMAL);
				  OLED_ShowFrame();

				  break;

			  case 4:
				  showlocation();
				  OLED_ShowFrame();

				  if(danji||shuangji)
				  {
					  tarState=1;
					  danji=0;
					  shuangji=0;

					  char tartem4[]="      ";
					  OLED_PrintString(0, 36, tartem4, &font16x16, OLED_COLOR_NORMAL);
				  }

				  tarcounter=__HAL_TIM_GET_COUNTER(&htim3);
				  if(tarcounter%1386-locationstate%1386<=-40||tarcounter%1386-locationstate%1386>=20)
				  {

					  if(tarcounter<=1000&&locationstate>=12859)
					  {
						  e=1;
						  f=-1;
					  }else if(tarcounter>locationstate)
					  {
						  e=1;
						  f=-1;
					  }else if(locationstate<=1000&&tarcounter>=12859)
					  {
						  e=-1;
						  f=-1;
						  //顺时针
					  }else if(locationstate>tarcounter)
					  {
						  e=-1;
						  f=-1;
						  //sun
					  }
				  }

				  if(e==1)
				  {
					  //顺时针转动
					  __HAL_TIM_SET_COMPARE(&htim2,TIM_CHANNEL_3,199);

					  HAL_GPIO_WritePin(zheng_GPIO_Port, zheng_Pin, SET);
					  HAL_GPIO_WritePin(fu_GPIO_Port, fu_Pin, RESET);
					  e=0 ;
					  HAL_Delay(40);
				  }else if(e==-1)
				  {
					  __HAL_TIM_SET_COMPARE(&htim2,TIM_CHANNEL_3,199);

					  HAL_GPIO_WritePin(zheng_GPIO_Port, zheng_Pin, RESET);
					  HAL_GPIO_WritePin(fu_GPIO_Port, fu_Pin, SET);
					  e=0;
					  HAL_Delay(40);
				  }

				  if(f==-1)
				  {
					  while(1)
					  {
						  tarcounter=__HAL_TIM_GET_COUNTER(&htim3);
						  if((tarcounter%1386-locationstate%1386>=-20&&tarcounter%1386-locationstate%1386<=-10))
						  {
							  stops();
							  f=0;
							  HAL_Delay(200);
							  break;
						  }
					  }
				  }

				  break;
			  }

			  Keydetect();

			  if(sysState!=MODE_TARGET)
			  {
				  break;
			  }
		  }
		  break;

	  case MODE_SLEEP:
		  OLED_NewFrame();
		  OLED_ShowFrame();

		  int sleState = 0;
		  stateshift=__HAL_TIM_GET_COUNTER(&htim1);//速度调节调用
		  locationstate=__HAL_TIM_GET_COUNTER(&htim3);//位置调用
		  int slecounter;
		  int locacounter;
		  int slespeed=0;

		  locationstate%=1386;
		  float sletemp=locationstate*40/1386;
		  int sletempint=40-sletemp;
		  __HAL_TIM_SET_COUNTER(&htim1,sletempint);
		  stateshift=__HAL_TIM_GET_COUNTER(&htim1);

		  int c,a,b,slecha,d;
		  d=0;
		  int panduan=0;
		  while(1)
		  {

			  Keydetect();
			  if(shuangji||danji)
			  {
				  shuangji=0;
				  danji=0;
				  sysState=MENU_MAIN;
			  }
			  showlocation();
			  OLED_ShowFrame();

			  slecounter=__HAL_TIM_GET_COUNTER(&htim1);
			  if(stateshift>=0&&stateshift<=1000&&slecounter>=4000)
			  {
				  c=-1;
				  d=1;
				  panduan=1;
				  stateshift=slecounter;//逆时针
			  }else if(stateshift<slecounter)
			  {
				  c=1;
				  d=1;
				  panduan=1;
				  stateshift=slecounter;
			  }else if(stateshift>=4000&&slecounter<=1000&&slecounter>=0)
			  {
				  c=1;
				  d=1;
				  panduan=1;
				  stateshift=slecounter;
			  }else if(stateshift>slecounter)
			  {
				  c=-1;
				  d=1;
				  panduan=1;
				  stateshift=slecounter;//逆时针
			  }else if(slecounter==stateshift&&panduan==1)
			  {

				  locacounter=__HAL_TIM_GET_COUNTER(&htim3);
				  if(locacounter%1386-locationstate%1386<=-50||locacounter%1386-locationstate%1386>=50)
				  {

					  if(locacounter<=1000&&locationstate>=12859)
					  {
						  c=1;
						  d=-1;
					  }else if(locacounter>locationstate)
					  {
						  c=1;
						  d=-1;
					  }else if(locationstate<=1000&&locacounter>=12859)
					  {
						  c=-1;
						  d=-1;
						  //顺时针
					  }else if(locationstate>locacounter)
					  {
						  c=-1;
						  d=-1;
						  //sun
					  }
				  }
			  }

			  if(c==1)
			  {
				  //顺时针转动
				  __HAL_TIM_SET_COMPARE(&htim2,TIM_CHANNEL_3,199);

				  HAL_GPIO_WritePin(zheng_GPIO_Port, zheng_Pin, SET);
				  HAL_GPIO_WritePin(fu_GPIO_Port, fu_Pin, RESET);
				  c=0;
				  HAL_Delay(40);
			  }else if(c==-1)
			  {
				  __HAL_TIM_SET_COMPARE(&htim2,TIM_CHANNEL_3,199);

				  HAL_GPIO_WritePin(zheng_GPIO_Port, zheng_Pin, RESET);
				  HAL_GPIO_WritePin(fu_GPIO_Port, fu_Pin, SET);
				  c=0;
				  HAL_Delay(40);
			  }

			  if(d==1)
			  {
				  while(1)
				  {
					  a=__HAL_TIM_GET_COUNTER(&htim3);
					  b=__HAL_TIM_GET_COUNTER(&htim1);
					  slecha=(a%1386)*40-(40-b%40)*1386;
					  if(slecha>=-3000&&slecha<=3000)
					  {
						  stops();
						  d=0;
						  HAL_Delay(100);
						  locationstate=__HAL_TIM_GET_COUNTER(&htim3);
						  break;
					  }
				  }
			  }

			  if(d==-1)
			  {
				  while(1)
				  {
					  locacounter=__HAL_TIM_GET_COUNTER(&htim3);
					  if((locacounter%1386-locationstate%1386>=-5&&locacounter%1386-locationstate%1386<=5))
					  {
						  stops();
						  d=0;
						  HAL_Delay(200);
						  break;
					  }
				  }
			  }

			  if(sysState!=MODE_SLEEP)
			  {
				  break;
			  }
		  }
		  break;
	  case MODE_CHEAT:
		  OLED_NewFrame();
		  OLED_ShowFrame();

		  int cheState = 0;
		  stateshift=__HAL_TIM_GET_COUNTER(&htim1);//速度调节调用
		  locationstate=__HAL_TIM_GET_COUNTER(&htim3);//位置调用
		  int checounter;
		  int chelocation=0;
		  int chemubiao;

		  char che[]="   AREA";
		  char chelocationout[5];
		  char chetemp[]="   ";
		  OLED_PrintString(0, 0, che, &font16x16, OLED_COLOR_NORMAL);
		  OLED_ShowFrame();

		  __HAL_TIM_SET_COMPARE(&htim2,TIM_CHANNEL_3,999);

		  HAL_GPIO_WritePin(zheng_GPIO_Port, zheng_Pin, SET);
		  HAL_GPIO_WritePin(fu_GPIO_Port, fu_Pin, RESET);

		  while(1)
		  {
		  switch(cheState)
		  {
		  case 0:
			  Keydetect();
			  checounter=__HAL_TIM_GET_COUNTER(&htim1);
			  if(stateshift>=0&&stateshift<=1000&&checounter>=4000)
			  {
				    chelocation-=(stateshift+14000-checounter)*0.5;
			  		stateshift=checounter;//逆时针
			  }else if(stateshift<checounter)
			  {
				    chelocation+=(checounter-stateshift)*0.5;
			  		stateshift=checounter;
			  }else if(stateshift>=4000&&checounter<=1000&&checounter>=0)
			  {
				    chelocation+=(checounter+14000-stateshift)*0.5;
			  		stateshift=checounter;
			  }else if(stateshift>checounter)
			  {
				    chelocation-=(stateshift-checounter)*0.5;
			  		stateshift=checounter;//逆时针
			  }

			  if(chelocation<1)
			  {
				  chelocation=1;
			  }else
			  {
			  		if(chelocation>36)
			  		{
			  			chelocation=36;
			  		}
			  }
			  int chelocationint=chelocation;
			  sprintf(chelocationout,"%d",chelocationint);

			  OLED_PrintString(0, 0, chetemp, &font16x16, OLED_COLOR_NORMAL);
			  OLED_PrintString(0, 0, chelocationout, &font16x16, OLED_COLOR_REVERSED);
			  OLED_ShowFrame();

			  if(danji)
			  {
				  chelocationint=(chelocationint+22)%36;
				  chemubiao=chelocationint*1386/36;
				    cheState=1;
			  		danji=0;
			  }else if(shuangji)
			  {
				    sysState=MENU_MAIN;
				    stoph();
			  		shuangji=0;
			  }
			  break;
		  case 1:
			  OLED_PrintString(0, 0, chelocationout, &font16x16, OLED_COLOR_NORMAL);
			  OLED_ShowFrame();
			  int jiansu=995;
			  while(1)
			  {
				  showlocation();
				  OLED_ShowFrame();

				  __HAL_TIM_SET_COMPARE(&htim2,TIM_CHANNEL_3,jiansu);
				  jiansu=jiansu-10;
				  if(jiansu==155)
				  {
					  int a;
					  while(1)
					  {
						  a=__HAL_TIM_GET_COUNTER(&htim3);
						  if(a%1386-chemubiao>-15&&a%1386-chemubiao<24)
						  {
							  break;
						  }

						  showlocation();

						  a=__HAL_TIM_GET_COUNTER(&htim3);
						  if(a%1386-chemubiao>-15&&a%1386-chemubiao<24)
						  {
							  break;
						  }

						  OLED_ShowFrame();

						  a=__HAL_TIM_GET_COUNTER(&htim3);
						  if(a%1386-chemubiao>-18&&a%1386-chemubiao<24)
						  {
							  break;
						  }
					  }
				  }
				  if(jiansu==35)
				  {
					  stops();
					  break;
				  }
			  }
			  cheState=2;
			  break;
		  case 2:
			  showlocation();
			  OLED_ShowFrame();
			  Keydetect();
			  if(danji)
			  {

				  __HAL_TIM_SET_COMPARE(&htim2,TIM_CHANNEL_3,999);

				  HAL_GPIO_WritePin(zheng_GPIO_Port, zheng_Pin, SET);
				  HAL_GPIO_WritePin(fu_GPIO_Port, fu_Pin, RESET);

				  cheState=0;
				  danji=0;
			  }
			  if(shuangji)
			  {
				  sysState=MENU_MAIN;
				  shuangji=0;
			  }

			  break;
		  }
		  if(sysState!=MODE_CHEAT)
		  {
			  break;
		  }
		  }
		  break;
	  case SYS_ERROR:
		  break;
	  }

    /* USER CODE END WHILE */

  }
}

void SystemClock_Config(void)
{
  RCC_OscInitTypeDef RCC_OscInitStruct = {0};
  RCC_ClkInitTypeDef RCC_ClkInitStruct = {0};

  /** Initializes the RCC Oscillators according to the specified parameters
  * in the RCC_OscInitTypeDef structure.
  */
  RCC_OscInitStruct.OscillatorType = RCC_OSCILLATORTYPE_HSE;
  RCC_OscInitStruct.HSEState = RCC_HSE_ON;
  RCC_OscInitStruct.HSEPredivValue = RCC_HSE_PREDIV_DIV1;
  RCC_OscInitStruct.HSIState = RCC_HSI_ON;
  RCC_OscInitStruct.PLL.PLLState = RCC_PLL_ON;
  RCC_OscInitStruct.PLL.PLLSource = RCC_PLLSOURCE_HSE;
  RCC_OscInitStruct.PLL.PLLMUL = RCC_PLL_MUL9;
  if (HAL_RCC_OscConfig(&RCC_OscInitStruct) != HAL_OK)
  {
    Error_Handler();
  }

  /** Initializes the CPU, AHB and APB buses clocks
  */
  RCC_ClkInitStruct.ClockType = RCC_CLOCKTYPE_HCLK|RCC_CLOCKTYPE_SYSCLK
                              |RCC_CLOCKTYPE_PCLK1|RCC_CLOCKTYPE_PCLK2;
  RCC_ClkInitStruct.SYSCLKSource = RCC_SYSCLKSOURCE_PLLCLK;
  RCC_ClkInitStruct.AHBCLKDivider = RCC_SYSCLK_DIV1;
  RCC_ClkInitStruct.APB1CLKDivider = RCC_HCLK_DIV2;
  RCC_ClkInitStruct.APB2CLKDivider = RCC_HCLK_DIV1;

  if (HAL_RCC_ClockConfig(&RCC_ClkInitStruct, FLASH_LATENCY_2) != HAL_OK)
  {
    Error_Handler();
  }
}

void Error_Handler(void)
{
  __disable_irq();
  while (1)
  {
  }
}
